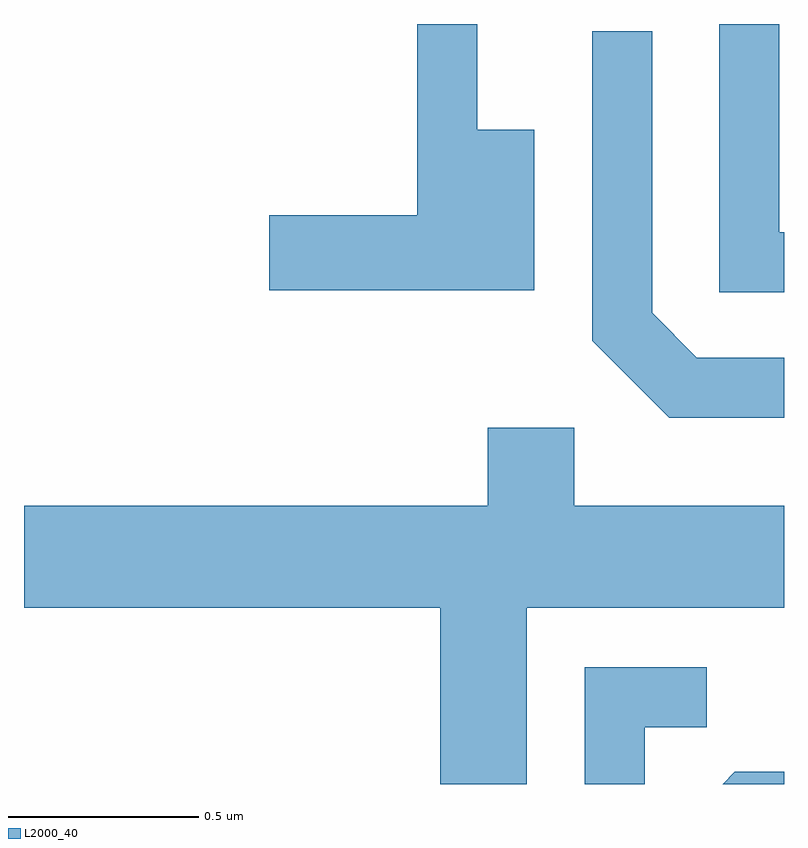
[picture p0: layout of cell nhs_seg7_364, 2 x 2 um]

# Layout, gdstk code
import gdstk
lib = gdstk.Library(unit=1e-6, precision=1e-09)
def P(c, l, *ps):  # polygons
    for p in ps: c.add(gdstk.Polygon(p, *l))
L2000_40 = (2000, 40)

nhs_seg7_364 = lib.new_cell('nhs_seg7_364')
P(nhs_seg7_364, L2000_40, [(189.611,1759.704),(189.599,1759.704),(189.599,1760.252),(189.441,1760.252),(189.441,1759.546),(189.611,1759.546)],
  [(188.954,1759.974),(188.804,1759.974),(188.804,1760.252),(188.646,1760.252),(188.646,1759.749),(188.256,1759.749),(188.256,1759.551),(188.954,1759.551)],
  [(189.611,1759.374),(189.382,1759.374),(189.264,1759.492),(189.264,1760.233),(189.106,1760.233),(189.106,1759.419),(189.309,1759.216),(189.611,1759.216)],
  [(188.934,1758.716),(189.611,1758.716),(189.611,1758.984),(189.059,1758.984),(189.059,1759.189),(188.831,1759.189),(188.831,1758.984),(187.611,1758.984),(187.611,1758.716),(188.706,1758.716),(188.706,1758.252),(188.934,1758.252)],
  [(189.244,1758.401),(189.408,1758.401),(189.408,1758.559),(189.086,1758.559),(189.086,1758.252),(189.244,1758.252)],
  [(189.611,1758.284),(189.482,1758.284),(189.45,1758.252),(189.611,1758.252)])

lib.write_gds('nhs_seg7_364.gds')
